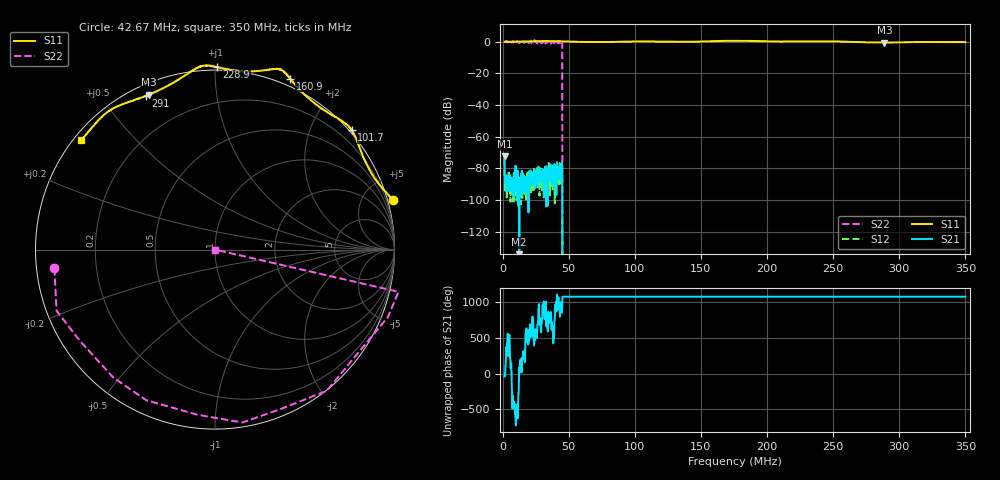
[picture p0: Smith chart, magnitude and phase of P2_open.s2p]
# Hz S RI R 50
! RAW DATA - UNCALIBRATED
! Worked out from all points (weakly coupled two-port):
!   1601 points, 1.5 MHz to 350 MHz, reference 50 ohm
!   highest |S21| = -72.43 dB at 1.5 MHz (marker M1); lowest = -185.0 dB at 12.61 MHz (marker M2)
!   lowest |S11| = -0.6 dB at 288.8 MHz (marker M3), VSWR 31.17, Z = 2.3 + j33 ohm
!   |S11| at or under -10 dB: nowhere
!   |S22| runs from - to 0.7 dB; largest |S21 - S12| = 0.00023
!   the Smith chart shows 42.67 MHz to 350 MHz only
!   S11 on the Smith chart (normalised r, x): 42.67 MHz: -0.85, +7.29; 101.7 MHz: -0.05, +2.67; 160.9 MHz: -0.07, +1.53; 228.9 MHz: -0.02, +1.01; 291 MHz: 0.04, +0.64; 350 MHz: 0.02, +0.35
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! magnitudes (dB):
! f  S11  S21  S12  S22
! 1.5 MHz  -0.2  -72.4  -80.4  0.5
! 3.46 MHz  -0.2  -90.8  -92.3  -0.3
! 12.61 MHz  0.0  -185.0  -90.3  -0.4
! 17.84 MHz  0.0  -94.2  -93.7  -0.1
! 25.68 MHz  0.2  -80.8  -82.5  -0.8
! 31.34 MHz  0.4  -80.9  -80.6  0.1
! 35.91 MHz  0.4  -77.5  -97.2  -0.3
! 42.67 MHz  0.3  -78.9  -85.6  -0.9
! 43.32 MHz  0.2  -80.6  -81.7  -0.8
! 47.02 MHz  0.2  -  -  -
! 59.66 MHz  -0.2  -  -  -
! 101.7 MHz  0.1  -  -  -
! 117.8 MHz  0.0  -  -  -
! 138.1 MHz  -0.1  -  -  -
! 160.9 MHz  0.3  -  -  -
! 175.8 MHz  0.6  -  -  -
! 228.9 MHz  0.1  -  -  -
! 233.9 MHz  0.2  -  -  -
! 288.8 MHz  -0.6  -  -  -
! 291 MHz  -0.5  -  -  -
! 292.1 MHz  -0.5  -  -  -
! 350 MHz  -0.3  -  -  -
